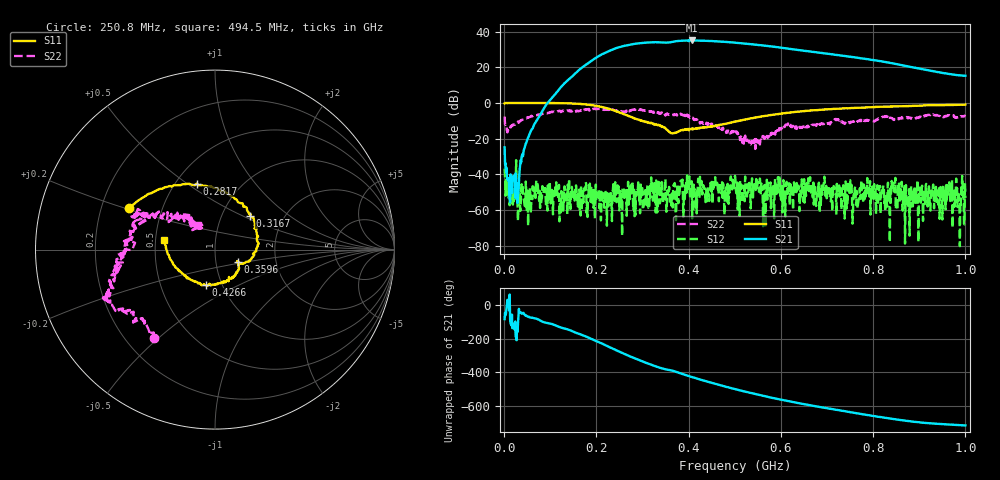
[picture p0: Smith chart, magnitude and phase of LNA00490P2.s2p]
! Created with skrf 1.9.0 (http://scikit-rf.org).
# Hz S RI R 50.0
!freq ReS11 ImS11 ReS21 ImS21 ReS12 ImS12 ReS22 ImS22
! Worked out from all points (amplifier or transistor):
!   1001 points, 1 MHz to 1 GHz, reference 50 ohm
!   highest |S21| = 35.1 dB at 406.6 MHz (marker M1)
!   |S21| within 3 dB of that: 260.7 MHz to 567.9 MHz (307.2 MHz wide, 74.2 % of centre)
!   unconditionally stable (mu >= 1): 211.8 MHz to 318.5 MHz; 318.9 MHz to 396.5 MHz; 397 MHz to end of sweep (the widest 3 of 51)
!   at 166.8 MHz: K = 1.27, MAG = 29.7 dB, |S12| = -46.2 dB
!   at 500.5 MHz: K = 1.18, MAG = 34.8 dB, |S12| = -40.8 dB
!   at 1 GHz: K = 5.92, MAG = 23.5 dB, |S12| = -53.2 dB
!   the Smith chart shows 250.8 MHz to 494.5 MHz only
!   S11 on the Smith chart (normalised r, x): 250.8 MHz: 0.32, +0.20; 281.7 MHz: 0.63, +0.55; 316.7 MHz: 1.36, +0.55; 359.6 MHz: 1.28, -0.19; 426.6 MHz: 0.84, -0.35; 494.5 MHz: 0.56, +0.06
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1000000  0.9801 0.00478  0.00805 -0.0564  -0.0115 -0.00869  0.3227 0.2605
1.09891e8  0.5116 -0.8568  -0.8082 -1.532  0.00121 0.00224  0.4433 -0.3702
1.67833e8  -0.2247 -0.907  -9.608 -0.7991  5.96e-05 0.000937  0.0467 -0.6246
2.12788e8  -0.686 -0.3491  -15.42 17.55  0.00135 -0.00125  -0.217 -0.6399
2.31769e8  -0.6583 -0.0279  -8.725 29.03  0.00127 0.000546  -0.2752 -0.5781
2.5075e8  -0.4814 0.2298  4.53 36.78  0.00271 -0.00195  -0.3418 -0.4908
2.81719e8  -0.1015 0.3675  31.45 32.56  -0.001 0.00405  -0.5836 -0.3072
3.16684e8  0.1955 0.1889  49.46 7.321  -0.00219 0.000374  -0.5771 -0.1422
3.34666e8  0.2444 0.0339  49.77 -8.139  -0.0048 0.00385  -0.5104 -0.0421
3.59641e8  0.1296 -0.0706  44.92 -22.56  -0.000821 -0.00121  -0.4695 0.0994
3.78622e8  0.1317 -0.0942  40.9 -36.78  0.00278 0.00277  -0.4495 0.1931
4.06594e8  0.0586 -0.1827  22.22 -52.21  -0.00245 0.00594  -0.3158 0.2204
4.26574e8  -0.049 -0.1978  6.007 -55.64  0.000941 0.00483  -0.2191 0.175
4.55545e8  -0.1843 -0.1328  -15.51 -51.74  0.00501 0.0011  -0.1601 0.1861
4.94506e8  -0.2829 0.0529  -35.75 -35.18  0.00364 0.00103  -0.0945 0.1344
5.005e8  -0.2908 0.0846  -37.59 -32.16  0.00665 0.00623  -0.086 0.1105
5.4046e8  -0.2384 0.3001  -42.57 -10.47  0.00476 -0.0007  -0.0839 0.00671
5.88412e8  -0.0563 0.4749  -35.84 10.2  0.000392 -0.00335  -0.1428 -0.0747
6.67333e8  0.3142 0.5337  -14.35 23.13  -0.00201 -0.00428  -0.2415 -0.0364
7.55245e8  0.6239 0.3715  3.117 19.14  3.13e-05 0.000414  -0.2939 0.0508
8.34166e8  0.7782 0.1492  9.382 9.748  0.000439 -0.00242  -0.3991 0.0719
1e9  0.8179 -0.3794  5.791 0.3669  -0.00203 0.000804  -0.2035 0.3695
